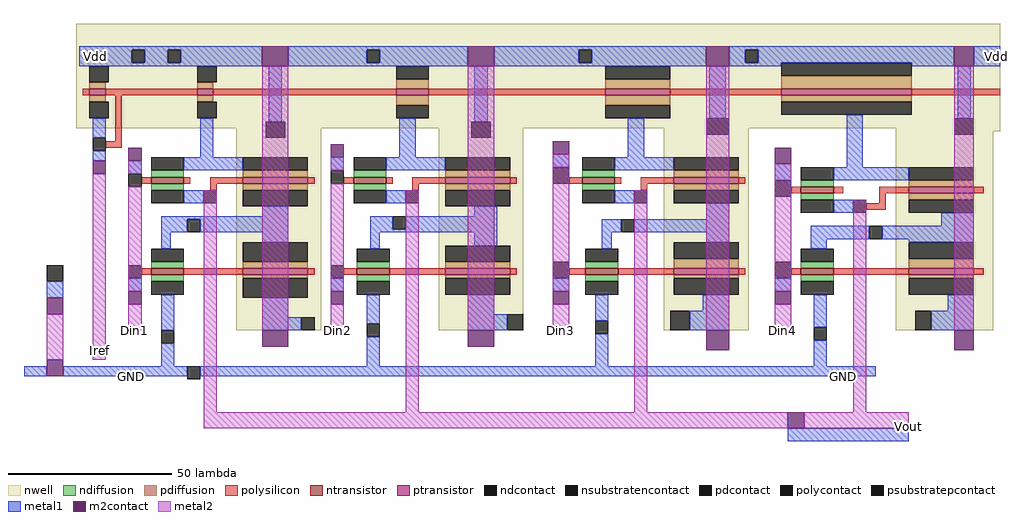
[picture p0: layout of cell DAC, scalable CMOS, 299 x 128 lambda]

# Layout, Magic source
magic
tech scmos
<< nwell >>
rect 29 -6 312 26
rect 78 -68 104 -6
rect 140 -68 166 -6
rect 209 -68 235 -6
rect 280 -7 312 -6
rect 280 -68 310 -7
<< polysilicon >>
rect 31 4 33 6
rect 38 4 66 6
rect 71 4 127 6
rect 137 4 191 6
rect 211 4 245 6
rect 285 4 312 6
rect 41 -10 43 4
rect 38 -12 43 -10
rect 49 -23 52 -21
rect 62 -23 64 -21
rect 70 -23 80 -21
rect 100 -23 102 -21
rect 111 -23 114 -21
rect 124 -23 126 -21
rect 132 -23 142 -21
rect 162 -23 164 -21
rect 180 -23 184 -21
rect 194 -23 196 -21
rect 202 -23 212 -21
rect 232 -23 234 -21
rect 70 -25 72 -23
rect 132 -25 134 -23
rect 202 -25 204 -23
rect 248 -26 251 -24
rect 261 -26 264 -24
rect 275 -26 284 -24
rect 304 -26 307 -24
rect 275 -29 277 -26
rect 271 -31 277 -29
rect 49 -51 52 -49
rect 62 -51 80 -49
rect 100 -51 102 -49
rect 111 -51 115 -49
rect 125 -51 142 -49
rect 162 -51 164 -49
rect 180 -51 185 -49
rect 195 -51 212 -49
rect 232 -51 234 -49
rect 248 -51 251 -49
rect 261 -51 284 -49
rect 304 -51 307 -49
<< ndiffusion >>
rect 52 -21 62 -19
rect 114 -21 124 -19
rect 184 -21 194 -19
rect 52 -25 62 -23
rect 114 -25 124 -23
rect 184 -25 194 -23
rect 251 -24 261 -22
rect 251 -28 261 -26
rect 52 -49 62 -47
rect 52 -53 62 -51
rect 115 -49 125 -47
rect 115 -53 125 -51
rect 185 -49 195 -47
rect 185 -53 195 -51
rect 251 -49 261 -47
rect 251 -53 261 -51
<< pdiffusion >>
rect 33 6 38 8
rect 66 6 71 8
rect 127 6 137 9
rect 191 6 211 9
rect 245 6 285 10
rect 33 2 38 4
rect 66 2 71 4
rect 127 1 137 4
rect 191 1 211 4
rect 245 2 285 4
rect 80 -21 100 -19
rect 142 -21 162 -19
rect 212 -21 232 -19
rect 80 -25 100 -23
rect 142 -25 162 -23
rect 212 -25 232 -23
rect 284 -24 304 -22
rect 284 -28 304 -26
rect 80 -49 100 -47
rect 80 -52 100 -51
rect 142 -49 162 -47
rect 142 -52 162 -51
rect 212 -49 232 -46
rect 212 -52 232 -51
rect 284 -49 304 -46
rect 284 -52 304 -51
<< metal1 >>
rect 30 18 86 19
rect 30 14 46 18
rect 50 14 57 18
rect 61 14 86 18
rect 30 13 86 14
rect 94 18 149 19
rect 94 14 118 18
rect 122 14 149 18
rect 94 13 149 14
rect 157 18 222 19
rect 157 14 183 18
rect 187 14 222 18
rect 157 13 222 14
rect 229 18 298 19
rect 229 14 234 18
rect 238 14 298 18
rect 229 13 245 14
rect 34 -9 38 -3
rect 34 -16 38 -13
rect 67 -15 71 -3
rect 88 -4 92 13
rect 128 -15 133 -3
rect 151 -4 155 13
rect 223 -3 228 13
rect 285 13 298 14
rect 304 13 312 19
rect 45 -20 49 -16
rect 62 -19 80 -15
rect 107 -19 111 -15
rect 124 -19 142 -15
rect 175 -18 180 -14
rect 198 -15 203 -3
rect 194 -19 212 -15
rect 243 -22 248 -17
rect 265 -18 270 -2
rect 299 -3 303 13
rect 261 -22 284 -18
rect 62 -29 68 -25
rect 124 -29 130 -25
rect 194 -29 200 -25
rect 86 -33 94 -30
rect 151 -33 158 -30
rect 55 -34 94 -33
rect 55 -38 63 -34
rect 67 -38 94 -34
rect 55 -43 58 -38
rect 86 -41 94 -38
rect 119 -37 126 -33
rect 130 -37 158 -33
rect 222 -34 229 -29
rect 261 -32 267 -28
rect 119 -38 158 -37
rect 119 -43 122 -38
rect 151 -42 158 -38
rect 190 -38 196 -34
rect 200 -38 229 -34
rect 294 -36 304 -32
rect 190 -43 193 -38
rect 222 -41 229 -38
rect 254 -40 272 -36
rect 276 -40 304 -36
rect 254 -43 259 -40
rect 284 -41 304 -40
rect 20 -58 25 -53
rect 45 -56 49 -52
rect 55 -68 59 -57
rect 107 -56 111 -52
rect 13 -82 20 -79
rect 55 -79 59 -72
rect 86 -64 94 -58
rect 175 -56 180 -52
rect 86 -68 98 -64
rect 118 -66 122 -57
rect 118 -79 122 -70
rect 149 -63 157 -57
rect 243 -56 248 -52
rect 149 -68 161 -63
rect 188 -65 192 -57
rect 221 -62 229 -57
rect 217 -68 229 -62
rect 188 -79 192 -69
rect 255 -67 259 -57
rect 296 -62 304 -57
rect 291 -68 304 -62
rect 255 -79 259 -71
rect 25 -82 63 -79
rect 67 -82 274 -79
rect 247 -102 284 -98
<< metal2 >>
rect 45 -20 49 -16
rect 20 -77 25 -63
rect 34 -77 38 -20
rect 45 -56 49 -24
rect 45 -68 49 -60
rect 68 -93 72 -25
rect 86 -68 94 13
rect 107 -19 111 -15
rect 107 -56 111 -23
rect 107 -68 111 -60
rect 130 -93 134 -25
rect 149 -68 157 13
rect 175 -56 180 -14
rect 175 -68 180 -60
rect 200 -93 204 -25
rect 222 -68 229 13
rect 243 -56 248 -17
rect 243 -68 248 -60
rect 267 -93 271 -28
rect 298 -68 304 13
rect 68 -98 247 -93
rect 252 -98 284 -93
<< ntransistor >>
rect 52 -23 62 -21
rect 114 -23 124 -21
rect 184 -23 194 -21
rect 251 -26 261 -24
rect 52 -51 62 -49
rect 115 -51 125 -49
rect 185 -51 195 -49
rect 251 -51 261 -49
<< ptransistor >>
rect 33 4 38 6
rect 66 4 71 6
rect 127 4 137 6
rect 191 4 211 6
rect 245 4 285 6
rect 80 -23 100 -21
rect 142 -23 162 -21
rect 212 -23 232 -21
rect 284 -26 304 -24
rect 80 -51 100 -49
rect 142 -51 162 -49
rect 212 -51 232 -49
rect 284 -51 304 -49
<< polycontact >>
rect 34 -13 38 -9
rect 45 -24 49 -20
rect 107 -23 111 -19
rect 175 -23 180 -18
rect 68 -29 72 -25
rect 130 -29 134 -25
rect 200 -29 204 -25
rect 243 -27 248 -22
rect 267 -32 271 -28
rect 45 -52 49 -48
rect 107 -52 111 -48
rect 175 -52 180 -47
rect 243 -52 248 -47
<< ndcontact >>
rect 52 -19 62 -15
rect 114 -19 124 -15
rect 184 -19 194 -15
rect 251 -22 261 -18
rect 52 -29 62 -25
rect 114 -29 124 -25
rect 184 -29 194 -25
rect 251 -32 261 -28
rect 52 -47 62 -43
rect 115 -47 125 -43
rect 52 -57 62 -53
rect 185 -47 195 -43
rect 115 -57 125 -53
rect 251 -47 261 -43
rect 185 -57 195 -53
rect 251 -57 261 -53
<< pdcontact >>
rect 33 8 39 13
rect 66 8 72 13
rect 127 9 137 13
rect 191 9 211 13
rect 245 10 285 14
rect 33 -3 39 2
rect 66 -3 72 2
rect 127 -3 137 1
rect 191 -3 211 1
rect 245 -2 285 2
rect 80 -19 100 -15
rect 142 -19 162 -15
rect 212 -19 232 -15
rect 80 -30 100 -25
rect 142 -30 162 -25
rect 212 -29 232 -25
rect 284 -22 304 -18
rect 284 -32 304 -28
rect 80 -47 100 -41
rect 142 -47 162 -42
rect 80 -58 100 -52
rect 212 -46 232 -41
rect 142 -57 162 -52
rect 284 -46 304 -41
rect 212 -57 232 -52
rect 284 -57 304 -52
<< m2contact >>
rect 86 13 94 19
rect 149 13 157 19
rect 222 13 229 19
rect 34 -20 38 -16
rect 45 -16 49 -12
rect 107 -15 111 -11
rect 298 13 304 19
rect 175 -14 180 -10
rect 243 -17 248 -12
rect 20 -63 25 -58
rect 45 -60 49 -56
rect 20 -82 25 -77
rect 107 -60 111 -56
rect 86 -73 94 -68
rect 175 -60 180 -56
rect 243 -60 248 -56
rect 149 -73 157 -68
rect 222 -74 229 -68
rect 298 -74 304 -68
rect 247 -98 252 -93
<< psubstratepcontact >>
rect 63 -38 67 -34
rect 126 -37 130 -33
rect 196 -38 200 -34
rect 272 -40 276 -36
rect 20 -53 25 -48
rect 55 -72 59 -68
rect 118 -70 122 -66
rect 188 -69 192 -65
rect 255 -71 259 -67
rect 63 -83 67 -79
<< nsubstratencontact >>
rect 46 14 50 18
rect 57 14 61 18
rect 118 14 122 18
rect 183 14 187 18
rect 234 14 238 18
rect 87 -9 93 -4
rect 150 -9 156 -4
rect 222 -8 229 -3
rect 298 -8 304 -3
rect 98 -68 102 -64
rect 161 -68 166 -63
rect 211 -68 217 -62
rect 286 -68 291 -62
<< labels >>
rlabel metal2 36 -74 36 -74 1 Iref
rlabel metal1 35 16 35 16 1 Vdd
rlabel metal2 45 -68 49 -68 5 Din1
rlabel metal2 107 -68 111 -68 5 Din2
rlabel metal2 175 -68 180 -68 5 Din3
rlabel metal2 243 -68 248 -68 5 Din4
rlabel metal1 311 16 311 16 7 Vdd
rlabel metal1 264 -82 264 -82 1 GND
rlabel metal1 46 -82 46 -82 1 GND
rlabel space 284 -102 284 -93 7 Vout
<< end >>
